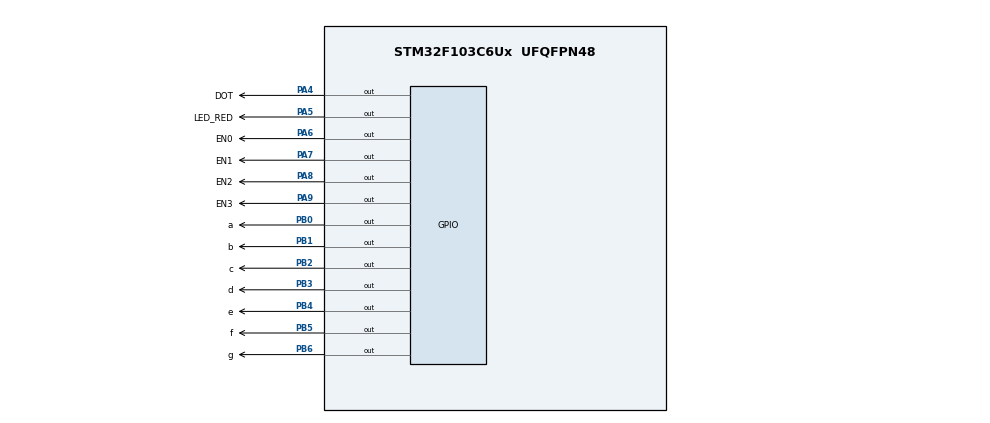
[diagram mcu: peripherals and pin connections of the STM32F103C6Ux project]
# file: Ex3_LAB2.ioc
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Mcu.Family=STM32F1
Mcu.Name=STM32F103C6Ux
Mcu.Package=UFQFPN48
NVIC.PriorityGroup=NVIC_PRIORITYGROUP_4
NVIC.TIM2_IRQn=true\:0\:0\:false\:false\:true\:true\:true
PA4.GPIO_Label=DOT
PA4.PinState=GPIO_PIN_SET
PA4.Signal=GPIO_Output
PA5.GPIO_Label=LED_RED
PA5.Signal=GPIO_Output
PA6.GPIO_Label=EN0
PA6.Signal=GPIO_Output
PA7.GPIO_Label=EN1
PA7.Signal=GPIO_Output
PA8.GPIO_Label=EN2
PA8.Signal=GPIO_Output
PA9.GPIO_Label=EN3
PA9.Signal=GPIO_Output
PB0.GPIO_Label=a
PB0.Signal=GPIO_Output
PB1.GPIO_Label=b
PB1.Signal=GPIO_Output
PB2.GPIO_Label=c
PB2.Signal=GPIO_Output
PB3.GPIO_Label=d
PB3.Signal=GPIO_Output
PB4.GPIO_Label=e
PB4.Signal=GPIO_Output
PB5.GPIO_Label=f
PB5.Signal=GPIO_Output
PB6.GPIO_Label=g
PB6.Signal=GPIO_Output
ProjectManager.HeapSize=0x200
ProjectManager.StackSize=0x400
ProjectManager.TargetToolchain=STM32CubeIDE
RCC.APB1Freq_Value=8000000
RCC.APB2Freq_Value=8000000
TIM2.Prescaler=7999
VP_SYS_VS_ND.Mode=No_Debug
VP_TIM2_VS_ClockSourceINT.Mode=Internal
board=custom

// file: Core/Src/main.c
/* USER CODE BEGIN Header */
/**
  ******************************************************************************
  * @file           : main.c
  * @brief          : Main program body
  ******************************************************************************
  * @attention
  *
  * <h2><center>&copy; Copyright (c) 2022 STMicroelectronics.
  * All rights reserved.</center></h2>
  *
  * This software component is licensed by ST under BSD 3-Clause license,
  * the "License"; You may not use this file except in compliance with the
  * License. You may obtain a copy of the License at:
  *                        opensource.org/licenses/BSD-3-Clause
  *
  ******************************************************************************
  */
/* USER CODE END Header */
#include "main.h"

/* USER CODE BEGIN PD */
#define setCounterDot 100
#define setCounter 50 // Change to 25 to obtain f = 1Hz in Ex4
/* USER CODE END PD */

TIM_HandleTypeDef htim2;

void SystemClock_Config(void);
static void MX_GPIO_Init(void);
static void MX_TIM2_Init(void);

int main(void)
{

  /* MCU Configuration--------------------------------------------------------*/

  /* Reset of all peripherals, Initializes the Flash interface and the Systick. */
  HAL_Init();

  /* Configure the system clock */
  SystemClock_Config();

  /* Initialize all configured peripherals */
  MX_GPIO_Init();
  MX_TIM2_Init();
  /* USER CODE BEGIN 2 */
  HAL_TIM_Base_Start_IT(&htim2);
  /* USER CODE END 2 */

  /* Infinite loop */
  while (1)
  {

  }
}

void SystemClock_Config(void)
{
  RCC_OscInitTypeDef RCC_OscInitStruct = {0};
  RCC_ClkInitTypeDef RCC_ClkInitStruct = {0};

  /** Initializes the RCC Oscillators according to the specified parameters
  * in the RCC_OscInitTypeDef structure.
  */
  RCC_OscInitStruct.OscillatorType = RCC_OSCILLATORTYPE_HSI;
  RCC_OscInitStruct.HSIState = RCC_HSI_ON;
  RCC_OscInitStruct.HSICalibrationValue = RCC_HSICALIBRATION_DEFAULT;
  RCC_OscInitStruct.PLL.PLLState = RCC_PLL_NONE;
  if (HAL_RCC_OscConfig(&RCC_OscInitStruct) != HAL_OK)
  {
    Error_Handler();
  }
  /** Initializes the CPU, AHB and APB buses clocks
  */
  RCC_ClkInitStruct.ClockType = RCC_CLOCKTYPE_HCLK|RCC_CLOCKTYPE_SYSCLK
                              |RCC_CLOCKTYPE_PCLK1|RCC_CLOCKTYPE_PCLK2;
  RCC_ClkInitStruct.SYSCLKSource = RCC_SYSCLKSOURCE_HSI;
  RCC_ClkInitStruct.AHBCLKDivider = RCC_SYSCLK_DIV1;
  RCC_ClkInitStruct.APB1CLKDivider = RCC_HCLK_DIV1;
  RCC_ClkInitStruct.APB2CLKDivider = RCC_HCLK_DIV1;

  if (HAL_RCC_ClockConfig(&RCC_ClkInitStruct, FLASH_LATENCY_0) != HAL_OK)
  {
    Error_Handler();
  }
}

static void MX_TIM2_Init(void)
{

  TIM_ClockConfigTypeDef sClockSourceConfig = {0};
  TIM_MasterConfigTypeDef sMasterConfig = {0};

  htim2.Instance = TIM2;
  htim2.Init.Prescaler = 7999;
  htim2.Init.CounterMode = TIM_COUNTERMODE_UP;
  htim2.Init.Period = 9;
  htim2.Init.ClockDivision = TIM_CLOCKDIVISION_DIV1;
  htim2.Init.AutoReloadPreload = TIM_AUTORELOAD_PRELOAD_DISABLE;
  if (HAL_TIM_Base_Init(&htim2) != HAL_OK)
  {
    Error_Handler();
  }
  sClockSourceConfig.ClockSource = TIM_CLOCKSOURCE_INTERNAL;
  if (HAL_TIM_ConfigClockSource(&htim2, &sClockSourceConfig) != HAL_OK)
  {
    Error_Handler();
  }
  sMasterConfig.MasterOutputTrigger = TIM_TRGO_RESET;
  sMasterConfig.MasterSlaveMode = TIM_MASTERSLAVEMODE_DISABLE;
  if (HAL_TIMEx_MasterConfigSynchronization(&htim2, &sMasterConfig) != HAL_OK)
  {
    Error_Handler();
  }

}

static void MX_GPIO_Init(void)
{
  GPIO_InitTypeDef GPIO_InitStruct = {0};

  /* GPIO Ports Clock Enable */
  __HAL_RCC_GPIOA_CLK_ENABLE();
  __HAL_RCC_GPIOB_CLK_ENABLE();

  /*Configure GPIO pin Output Level */
  HAL_GPIO_WritePin(DOT_GPIO_Port, DOT_Pin, GPIO_PIN_SET);

  /*Configure GPIO pin Output Level */
  HAL_GPIO_WritePin(GPIOA, LED_RED_Pin|EN0_Pin|EN1_Pin|EN2_Pin
                          |EN3_Pin, GPIO_PIN_RESET);

  /*Configure GPIO pin Output Level */
  HAL_GPIO_WritePin(GPIOB, a_Pin|b_Pin|c_Pin|d_Pin
                          |e_Pin|f_Pin|g_Pin, GPIO_PIN_RESET);

  /*Configure GPIO pins : DOT_Pin LED_RED_Pin EN0_Pin EN1_Pin
                           EN2_Pin EN3_Pin */
  GPIO_InitStruct.Pin = DOT_Pin|LED_RED_Pin|EN0_Pin|EN1_Pin
                          |EN2_Pin|EN3_Pin;
  GPIO_InitStruct.Mode = GPIO_MODE_OUTPUT_PP;
  GPIO_InitStruct.Pull = GPIO_NOPULL;
  GPIO_InitStruct.Speed = GPIO_SPEED_FREQ_LOW;
  HAL_GPIO_Init(GPIOA, &GPIO_InitStruct);

  /*Configure GPIO pins : a_Pin b_Pin c_Pin d_Pin
                           e_Pin f_Pin g_Pin */
  GPIO_InitStruct.Pin = a_Pin|b_Pin|c_Pin|d_Pin
                          |e_Pin|f_Pin|g_Pin;
  GPIO_InitStruct.Mode = GPIO_MODE_OUTPUT_PP;
  GPIO_InitStruct.Pull = GPIO_NOPULL;
  GPIO_InitStruct.Speed = GPIO_SPEED_FREQ_LOW;
  HAL_GPIO_Init(GPIOB, &GPIO_InitStruct);

}

/* USER CODE BEGIN 4 */
//Transfer sequence: gfedcba
//MSB=g, LSB=a <- Active low
//Ex: To display 0 -> sequence = 1000000
const int sevenSegTable[10] = {
		  0x0040 //0
		, 0x0079 //1
		, 0x0024 //2
		, 0x0030 //3
		, 0x0019 //4
		, 0x0012 //5
		, 0x0002 //6
		, 0x0078 //7
		, 0x0000 //8
		, 0x0010 //9
};

void display7SEG (int num){
	HAL_GPIO_WritePin(GPIOB, GPIO_PIN_0, ((sevenSegTable[num]>>0)&0x01));
	HAL_GPIO_WritePin(GPIOB, GPIO_PIN_1, ((sevenSegTable[num]>>1)&0x01));
	HAL_GPIO_WritePin(GPIOB, GPIO_PIN_2, ((sevenSegTable[num]>>2)&0x01));
	HAL_GPIO_WritePin(GPIOB, GPIO_PIN_3, ((sevenSegTable[num]>>3)&0x01));
	HAL_GPIO_WritePin(GPIOB, GPIO_PIN_4, ((sevenSegTable[num]>>4)&0x01));
	HAL_GPIO_WritePin(GPIOB, GPIO_PIN_5, ((sevenSegTable[num]>>5)&0x01));
	HAL_GPIO_WritePin(GPIOB, GPIO_PIN_6, ((sevenSegTable[num]>>6)&0x01));
}

int led_buffer[4] = {2, 3, 4, 6};
void update7SEG (int index){
	switch (index){
		case 0:
			HAL_GPIO_WritePin(EN0_GPIO_Port, EN0_Pin, RESET);
			HAL_GPIO_WritePin(EN1_GPIO_Port, EN1_Pin, SET);
			HAL_GPIO_WritePin(EN2_GPIO_Port, EN2_Pin, SET);
			HAL_GPIO_WritePin(EN3_GPIO_Port, EN3_Pin, SET);
			break;
		case 1:
			HAL_GPIO_WritePin(EN0_GPIO_Port, EN0_Pin, SET);
			HAL_GPIO_WritePin(EN1_GPIO_Port, EN1_Pin, RESET);
			HAL_GPIO_WritePin(EN2_GPIO_Port, EN2_Pin, SET);
			HAL_GPIO_WritePin(EN3_GPIO_Port, EN3_Pin, SET);
			break;
		case 2:
			HAL_GPIO_WritePin(EN0_GPIO_Port, EN0_Pin, SET);
			HAL_GPIO_WritePin(EN1_GPIO_Port, EN1_Pin, SET);
			HAL_GPIO_WritePin(EN2_GPIO_Port, EN2_Pin, RESET);
			HAL_GPIO_WritePin(EN3_GPIO_Port, EN3_Pin, SET);
			break;
		case 3:
			HAL_GPIO_WritePin(EN0_GPIO_Port, EN0_Pin, SET);
			HAL_GPIO_WritePin(EN1_GPIO_Port, EN1_Pin, SET);
			HAL_GPIO_WritePin(EN2_GPIO_Port, EN2_Pin, SET);
			HAL_GPIO_WritePin(EN3_GPIO_Port, EN3_Pin, RESET);
			break;
		default:
			break;
	}
	display7SEG(led_buffer[index]);
}

const int MAX_LED = 4;
int index_led = 0;

int counterLed = setCounter;
int counter7SEG = setCounter;
int counterDot = setCounterDot;

void systemRun(void){
	counterLed--;
	if (counterLed <= 0){
		counterLed = setCounter;
		HAL_GPIO_TogglePin(LED_RED_GPIO_Port, LED_RED_Pin);
	}
	counter7SEG--;
	if (counter7SEG <= 0){
		counter7SEG = setCounter;
		update7SEG(index_led);
		index_led = (index_led + 1) % MAX_LED;
	}
	counterDot--;
	if (counterDot <= 0){
		counterDot = setCounterDot;
		HAL_GPIO_TogglePin(DOT_GPIO_Port, DOT_Pin);
	}
}

void HAL_TIM_PeriodElapsedCallback ( TIM_HandleTypeDef * htim )
{
	systemRun();
}
/* USER CODE END 4 */

void Error_Handler(void)
{
  __disable_irq();
  while (1)
  {
  }
}

/************************ (C) COPYRIGHT STMicroelectronics *****END OF FILE****/
